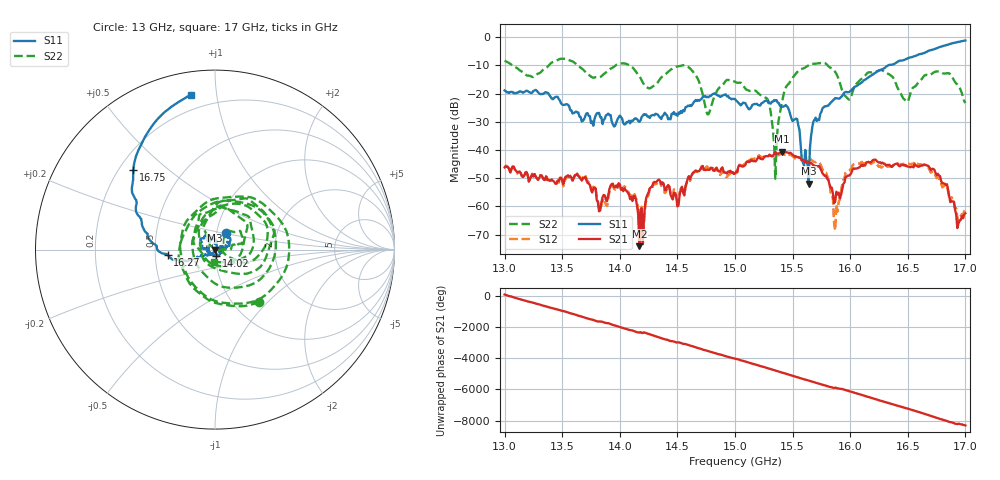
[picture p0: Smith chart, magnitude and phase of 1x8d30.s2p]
!Keysight Technologies,P9374A,MY57211807,A.19.30.04
!Date: Friday, May 08, 2026 15:19:23
!Correction: S11(C  2-Port  )
!S21(C  2-Port  )
!S12(C  2-Port  )
!S22(C  2-Port  )
!S2P File: Measurements: S11, S21, S12, S22:
# Hz S  dB  R 50
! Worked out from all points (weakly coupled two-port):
!   401 points, 13 GHz to 17 GHz, reference 50 ohm
!   highest |S21| = -40.55 dB at 15.41 GHz (marker M1); lowest = -74.1 dB at 14.17 GHz (marker M2)
!   lowest |S11| = -51.9 dB at 15.64 GHz (marker M3), VSWR 1.01, Z = 49.9 - j0.211 ohm
!   |S11| at or under -10 dB: start of sweep to 16.33 GHz
!   |S22| runs from -50.2 to -7.7 dB; largest |S21 - S12| = 0.0014
!   S11 on the Smith chart (normalised r, x): 13 GHz: 1.11, +0.21; 14.02 GHz: 1.01, -0.07; 16.27 GHz: 0.58, -0.04; 16.75 GHz: 0.26, +0.38; 17 GHz: 0.12, +0.85
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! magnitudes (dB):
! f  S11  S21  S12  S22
! 13 GHz  -18.9  -46.2  -46.0  -8.4
! 13.67 GHz  -29.9  -50.8  -50.4  -11.1
! 13.83 GHz  -28.4  -61.4  -61.2  -14.2
! 14.02 GHz  -28.9  -53.6  -53.3  -9.3
! 14.17 GHz  -30.1  -74.1  -70.9  -13.9
! 14.34 GHz  -28.1  -50.5  -50.9  -15.4
! 14.5 GHz  -27.9  -60.0  -57.7  -10.4
! 14.59 GHz  -24.3  -50.1  -50.2  -10.5
! 14.77 GHz  -21.3  -47.0  -46.6  -27.3
! 15 GHz  -21.9  -48.2  -48.4  -15.9
! 15.28 GHz  -22.5  -42.2  -41.9  -21.8
! 15.35 GHz  -22.5  -40.7  -41.2  -50.2
! 15.41 GHz  -24.7  -40.5  -41.2  -22.6
! 15.64 GHz  -51.9  -44.3  -43.4  -9.9
! 15.67 GHz  -32.2  -44.9  -43.8  -9.5
! 15.88 GHz  -21.6  -54.8  -59.2  -13.0
! 15.98 GHz  -19.5  -49.1  -47.4  -21.8
! 16.27 GHz  -11.5  -44.8  -46.3  -11.6
! 16.34 GHz  -9.8  -45.2  -45.7  -13.2
! 16.49 GHz  -7.7  -45.8  -44.9  -22.8
! 16.75 GHz  -3.9  -48.8  -50.0  -12.2
! 17 GHz  -1.2  -62.4  -61.4  -23.3
